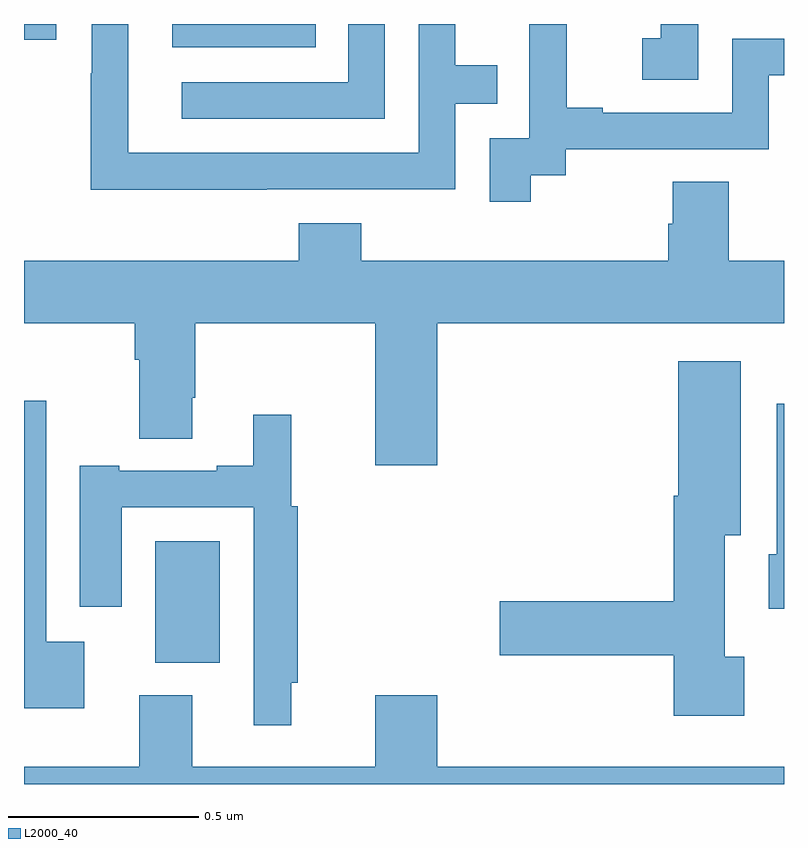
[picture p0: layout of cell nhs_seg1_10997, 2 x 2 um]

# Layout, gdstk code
import gdstk
lib = gdstk.Library(unit=1e-6, precision=1e-09)
def R(c, l, rs):  # rectangles x0, y0, x1, y1
    for r in rs: c.add(gdstk.rectangle(r[:2], r[2:], *l))
def P(c, l, *ps):  # polygons
    for p in ps: c.add(gdstk.Polygon(p, *l))
L2000_40 = (2000, 40)

nhs_seg1_10997 = lib.new_cell('nhs_seg1_10997')
R(nhs_seg1_10997, L2000_40, [(248.345,537.518,248.515,537.838), (248.39,539.138,248.768,539.199), (248,539.157,248.085,539.199)])
P(nhs_seg1_10997, L2000_40, [(248.949,539.199),(248.853,539.199),(248.853,539.046),(248.415,539.046),(248.415,538.95),(248.949,538.95)],
  [(248.639,538.764),(249.135,538.764),(249.135,538.989),(249.245,538.989),(249.245,539.09),(249.135,539.09),(249.135,539.199),(249.039,539.199),(249.039,538.86),(248.274,538.86),(248.274,539.199),(248.178,539.199),(248.178,539.069),(248.176,539.069),(248.176,538.763),(248.639,538.763)],
  [(249.334,538.801),(249.426,538.801),(249.426,538.869),(249.96,538.869),(249.96,539.064),(250,539.064),(250,539.16),(249.864,539.16),(249.864,538.965),(249.523,538.965),(249.523,538.978),(249.428,538.978),(249.428,539.199),(249.329,539.199),(249.329,539.129),(249.33,539.129),(249.33,538.899),(249.225,538.899),(249.225,538.731),(249.334,538.731)],
  [(249.774,539.199),(249.676,539.199),(249.676,539.161),(249.627,539.161),(249.627,539.052),(249.774,539.052)],
  [(249.088,538.412),(250,538.412),(250,538.576),(249.855,538.576),(249.855,538.784),(249.707,538.784),(249.707,538.674),(249.695,538.674),(249.695,538.576),(248.888,538.576),(248.888,538.675),(248.723,538.675),(248.723,538.576),(248,538.576),(248,538.412),(248.291,538.412),(248.291,538.316),(248.303,538.316),(248.303,538.108),(248.443,538.108),(248.443,538.216),(248.451,538.216),(248.451,538.412),(248.924,538.412),(248.924,538.038),(249.088,538.038)],
  [(249.895,537.534),(249.844,537.534),(249.844,537.854),(249.886,537.854),(249.886,538.312),(249.722,538.312),(249.722,537.958),(249.71,537.958),(249.71,537.68),(249.252,537.68),(249.252,537.538),(249.71,537.538),(249.71,537.378),(249.895,537.378)],
  [(248.158,537.574),(248.058,537.574),(248.058,538.208),(248,538.208),(248,537.398),(248.158,537.398)],
  [(250,538.2),(249.981,538.2),(249.981,537.804),(249.96,537.804),(249.96,537.66),(250,537.66)],
  [(248.703,537.466),(248.72,537.466),(248.72,537.93),(248.703,537.93),(248.703,538.171),(248.603,538.171),(248.603,538.036),(248.507,538.036),(248.507,538.023),(248.251,538.023),(248.251,538.036),(248.147,538.036),(248.147,537.666),(248.257,537.666),(248.257,537.927),(248.604,537.927),(248.604,537.354),(248.703,537.354)],
  [(250,537.244),(249.088,537.244),(249.088,537.433),(248.924,537.433),(248.924,537.244),(248.443,537.244),(248.443,537.433),(248.303,537.433),(248.303,537.244),(248,537.244),(248,537.199),(250,537.199)])

lib.write_gds('nhs_seg1_10997.gds')
